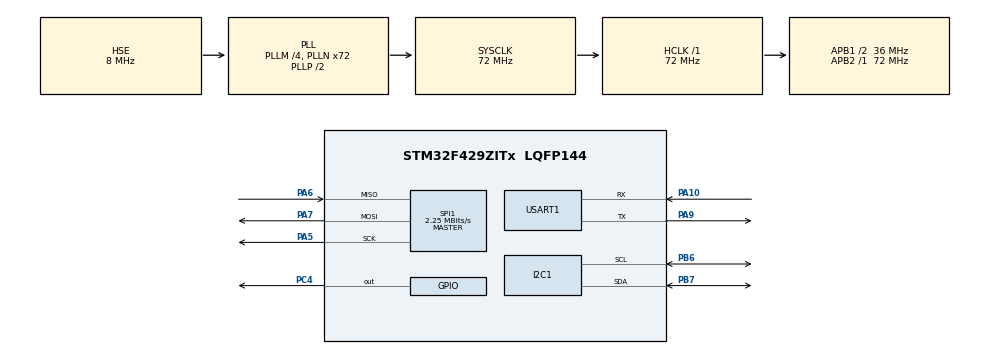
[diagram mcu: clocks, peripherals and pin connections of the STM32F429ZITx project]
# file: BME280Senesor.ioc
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FATFS._MAX_SS=4096
FATFS._USE_LFN=1
Mcu.Family=STM32F4
Mcu.Name=STM32F429ZITx
Mcu.Package=LQFP144
NVIC.PriorityGroup=NVIC_PRIORITYGROUP_4
PA10.Mode=Asynchronous
PA10.Signal=USART1_RX
PA13.Mode=Serial_Wire
PA13.Signal=SYS_JTMS-SWDIO
PA14.Mode=Serial_Wire
PA14.Signal=SYS_JTCK-SWCLK
PA5.Mode=Full_Duplex_Master
PA5.Signal=SPI1_SCK
PA6.Mode=Full_Duplex_Master
PA6.Signal=SPI1_MISO
PA7.Mode=Full_Duplex_Master
PA7.Signal=SPI1_MOSI
PA9.Mode=Asynchronous
PA9.Signal=USART1_TX
PB6.Mode=I2C
PB6.Signal=I2C1_SCL
PB7.Mode=I2C
PB7.Signal=I2C1_SDA
PC4.Signal=GPIO_Output
PH0/OSC_IN.Mode=HSE-External-Oscillator
PH0/OSC_IN.Signal=RCC_OSC_IN
PH1/OSC_OUT.Mode=HSE-External-Oscillator
PH1/OSC_OUT.Signal=RCC_OSC_OUT
ProjectManager.HeapSize=0x200
ProjectManager.StackSize=0x400
ProjectManager.TargetToolchain=STM32CubeIDE
RCC.48MHZClocksFreq_Value=48000000
RCC.AHBFreq_Value=72000000
RCC.APB1CLKDivider=RCC_HCLK_DIV2
RCC.APB1Freq_Value=36000000
RCC.APB1TimFreq_Value=72000000
RCC.APB2Freq_Value=72000000
RCC.APB2TimFreq_Value=72000000
RCC.CortexFreq_Value=72000000
RCC.HCLKFreq_Value=72000000
RCC.HSE_VALUE=8000000
RCC.HSI_VALUE=16000000
RCC.LSE_VALUE=32768
RCC.PLLM=4
RCC.PLLN=72
RCC.PLLQ=3
RCC.PLLSAIN=50
RCC.PLLSourceVirtual=RCC_PLLSOURCE_HSE
RCC.SYSCLKFreq_VALUE=72000000
RCC.SYSCLKSource=RCC_SYSCLKSOURCE_PLLCLK
RCC.VCOOutputFreq_Value=144000000
SPI1.BaudRatePrescaler=SPI_BAUDRATEPRESCALER_32
SPI1.CalculateBaudRate=2.25 MBits/s
SPI1.Direction=SPI_DIRECTION_2LINES
SPI1.Mode=SPI_MODE_MASTER
SPI1.VirtualType=VM_MASTER
USART1.VirtualMode=VM_ASYNC
VP_FATFS_VS_Generic.Mode=User_defined
VP_RTC_VS_RTC_Activate.Mode=RTC_Enabled
board=STM32F429I-DISC1

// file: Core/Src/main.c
/* USER CODE BEGIN Header */
/**
  ******************************************************************************
  * @file           : main.c
  * @brief          : Main program body
  ******************************************************************************
  * @attention
  *
  * Copyright (c) 2025 STMicroelectronics.
  * All rights reserved.
  *
  * This software is licensed under terms that can be found in the LICENSE file
  * in the root directory of this software component.
  * If no LICENSE file comes with this software, it is provided AS-IS.
  *
  ******************************************************************************
  */
/* USER CODE END Header */
#include "main.h"
#include "fatfs.h"

/* USER CODE BEGIN Includes */
#include "BME280_STM32.h"
#include "fatfs_sd.h"
#include "string.h"
#include "stdio.h"
#include "log_sensor_data.h"
/* USER CODE END Includes */

I2C_HandleTypeDef hi2c1;

RTC_HandleTypeDef hrtc;

SPI_HandleTypeDef hspi1;

UART_HandleTypeDef huart1;

/* USER CODE BEGIN PV */

/* USER CODE BEGIN PV */
// BME280 sensor variables

float Temperature, Pressure, Humidity;
char uart_buffer[100];

// Data logging variables
SensorData current_sensor_data;
char uart_display_buffer[256];
uint32_t measurement_counter = 0;
LogStatus log_status;

/* USER CODE END PV */

void SystemClock_Config(void);
static void MX_GPIO_Init(void);
static void MX_I2C1_Init(void);
static void MX_USART1_UART_Init(void);
static void MX_SPI1_Init(void);
static void MX_RTC_Init(void);

int main(void)
{

  /* MCU Configuration--------------------------------------------------------*/

  /* Reset of all peripherals, Initializes the Flash interface and the Systick. */
  HAL_Init();

  /* Configure the system clock */
  SystemClock_Config();

  /* Initialize all configured peripherals */
  MX_GPIO_Init();
  MX_I2C1_Init();
  MX_USART1_UART_Init();
  MX_SPI1_Init();
  MX_FATFS_Init();
  MX_RTC_Init();
  /* USER CODE BEGIN 2 */

  // Welcome message
    send_uart_message("\r\n=== BME280 SD Card Data Logger ===\r\n");
    send_uart_message("Initializing system...\r\n");

    // Initialize BME280 sensor
    BME280_Config(OSRS_2, OSRS_16, OSRS_1, MODE_NORMAL, T_SB_0p5, IIR_16);
    send_uart_message("BME280 sensor initialized\r\n");

    // Wait for system stabilization
    HAL_Delay(1000);

    // Initialize SD card logging system
    log_status = log_sensor_init();
    if (log_status != LOG_OK) {
      //handle_logging_error(log_status);
      send_uart_message("SD card logging failed to initialize!\r\n");
      send_uart_message("Continuing with UART output only...\r\n");
    }

    send_uart_message("System ready. Starting data logging...\r\n");
    send_uart_message("Data format: Temperature(C), Humidity(%), Pressure(hPa)\r\n\r\n");

  /* USER CODE END 2 */

  /* Infinite loop */
  while (1)
  {

    /* USER CODE BEGIN 3 */
	  // Read BME280 sensor data
	      BME280_Measure();

	      // Display readings on UART
	      //display_sensor_data();

	      // Prepare data structure for logging
	      current_sensor_data.temperature = Temperature;
	      current_sensor_data.humidity = Humidity;
	      current_sensor_data.pressure = Pressure;
	      current_sensor_data.timestamp = measurement_counter++;

	      // Log data to SD card (only if initialization was successful)
	      if (log_status == LOG_OK) {
	        LogStatus write_status = log_sensor_data(&current_sensor_data);

	      }

	      // Wait before next measurement
	      HAL_Delay(LOG_INTERVAL_MS);
  }
  /* USER CODE END 3 */
}

void SystemClock_Config(void)
{
  RCC_OscInitTypeDef RCC_OscInitStruct = {0};
  RCC_ClkInitTypeDef RCC_ClkInitStruct = {0};

  /** Configure the main internal regulator output voltage
  */
  __HAL_RCC_PWR_CLK_ENABLE();
  __HAL_PWR_VOLTAGESCALING_CONFIG(PWR_REGULATOR_VOLTAGE_SCALE3);

  /** Initializes the RCC Oscillators according to the specified parameters
  * in the RCC_OscInitTypeDef structure.
  */
  RCC_OscInitStruct.OscillatorType = RCC_OSCILLATORTYPE_LSI|RCC_OSCILLATORTYPE_HSE;
  RCC_OscInitStruct.HSEState = RCC_HSE_ON;
  RCC_OscInitStruct.LSIState = RCC_LSI_ON;
  RCC_OscInitStruct.PLL.PLLState = RCC_PLL_ON;
  RCC_OscInitStruct.PLL.PLLSource = RCC_PLLSOURCE_HSE;
  RCC_OscInitStruct.PLL.PLLM = 4;
  RCC_OscInitStruct.PLL.PLLN = 72;
  RCC_OscInitStruct.PLL.PLLP = RCC_PLLP_DIV2;
  RCC_OscInitStruct.PLL.PLLQ = 3;
  if (HAL_RCC_OscConfig(&RCC_OscInitStruct) != HAL_OK)
  {
    Error_Handler();
  }

  /** Initializes the CPU, AHB and APB buses clocks
  */
  RCC_ClkInitStruct.ClockType = RCC_CLOCKTYPE_HCLK|RCC_CLOCKTYPE_SYSCLK
                              |RCC_CLOCKTYPE_PCLK1|RCC_CLOCKTYPE_PCLK2;
  RCC_ClkInitStruct.SYSCLKSource = RCC_SYSCLKSOURCE_PLLCLK;
  RCC_ClkInitStruct.AHBCLKDivider = RCC_SYSCLK_DIV1;
  RCC_ClkInitStruct.APB1CLKDivider = RCC_HCLK_DIV2;
  RCC_ClkInitStruct.APB2CLKDivider = RCC_HCLK_DIV1;

  if (HAL_RCC_ClockConfig(&RCC_ClkInitStruct, FLASH_LATENCY_2) != HAL_OK)
  {
    Error_Handler();
  }
}

static void MX_I2C1_Init(void)
{

  hi2c1.Instance = I2C1;
  hi2c1.Init.ClockSpeed = 100000;
  hi2c1.Init.DutyCycle = I2C_DUTYCYCLE_2;
  hi2c1.Init.OwnAddress1 = 0;
  hi2c1.Init.AddressingMode = I2C_ADDRESSINGMODE_7BIT;
  hi2c1.Init.DualAddressMode = I2C_DUALADDRESS_DISABLE;
  hi2c1.Init.OwnAddress2 = 0;
  hi2c1.Init.GeneralCallMode = I2C_GENERALCALL_DISABLE;
  hi2c1.Init.NoStretchMode = I2C_NOSTRETCH_DISABLE;
  if (HAL_I2C_Init(&hi2c1) != HAL_OK)
  {
    Error_Handler();
  }

  /** Configure Analogue filter
  */
  if (HAL_I2CEx_ConfigAnalogFilter(&hi2c1, I2C_ANALOGFILTER_ENABLE) != HAL_OK)
  {
    Error_Handler();
  }

  /** Configure Digital filter
  */
  if (HAL_I2CEx_ConfigDigitalFilter(&hi2c1, 0) != HAL_OK)
  {
    Error_Handler();
  }

}

static void MX_RTC_Init(void)
{

  /** Initialize RTC Only
  */
  hrtc.Instance = RTC;
  hrtc.Init.HourFormat = RTC_HOURFORMAT_24;
  hrtc.Init.AsynchPrediv = 127;
  hrtc.Init.SynchPrediv = 255;
  hrtc.Init.OutPut = RTC_OUTPUT_DISABLE;
  hrtc.Init.OutPutPolarity = RTC_OUTPUT_POLARITY_HIGH;
  hrtc.Init.OutPutType = RTC_OUTPUT_TYPE_OPENDRAIN;
  if (HAL_RTC_Init(&hrtc) != HAL_OK)
  {
    Error_Handler();
  }

}

static void MX_SPI1_Init(void)
{

  /* SPI1 parameter configuration*/
  hspi1.Instance = SPI1;
  hspi1.Init.Mode = SPI_MODE_MASTER;
  hspi1.Init.Direction = SPI_DIRECTION_2LINES;
  hspi1.Init.DataSize = SPI_DATASIZE_8BIT;
  hspi1.Init.CLKPolarity = SPI_POLARITY_LOW;
  hspi1.Init.CLKPhase = SPI_PHASE_1EDGE;
  hspi1.Init.NSS = SPI_NSS_SOFT;
  hspi1.Init.BaudRatePrescaler = SPI_BAUDRATEPRESCALER_32;
  hspi1.Init.FirstBit = SPI_FIRSTBIT_MSB;
  hspi1.Init.TIMode = SPI_TIMODE_DISABLE;
  hspi1.Init.CRCCalculation = SPI_CRCCALCULATION_DISABLE;
  hspi1.Init.CRCPolynomial = 10;
  if (HAL_SPI_Init(&hspi1) != HAL_OK)
  {
    Error_Handler();
  }

}

static void MX_USART1_UART_Init(void)
{

  huart1.Instance = USART1;
  huart1.Init.BaudRate = 115200;
  huart1.Init.WordLength = UART_WORDLENGTH_8B;
  huart1.Init.StopBits = UART_STOPBITS_1;
  huart1.Init.Parity = UART_PARITY_NONE;
  huart1.Init.Mode = UART_MODE_TX_RX;
  huart1.Init.HwFlowCtl = UART_HWCONTROL_NONE;
  huart1.Init.OverSampling = UART_OVERSAMPLING_16;
  if (HAL_UART_Init(&huart1) != HAL_OK)
  {
    Error_Handler();
  }

}

static void MX_GPIO_Init(void)
{
  GPIO_InitTypeDef GPIO_InitStruct = {0};

  /* GPIO Ports Clock Enable */
  __HAL_RCC_GPIOH_CLK_ENABLE();
  __HAL_RCC_GPIOA_CLK_ENABLE();
  __HAL_RCC_GPIOC_CLK_ENABLE();
  __HAL_RCC_GPIOB_CLK_ENABLE();

  /*Configure GPIO pin Output Level */
  HAL_GPIO_WritePin(GPIOC, GPIO_PIN_4, GPIO_PIN_RESET);

  /*Configure GPIO pin : PC4 */
  GPIO_InitStruct.Pin = GPIO_PIN_4;
  GPIO_InitStruct.Mode = GPIO_MODE_OUTPUT_PP;
  GPIO_InitStruct.Pull = GPIO_NOPULL;
  GPIO_InitStruct.Speed = GPIO_SPEED_FREQ_LOW;
  HAL_GPIO_Init(GPIOC, &GPIO_InitStruct);

}

void Error_Handler(void)
{
  __disable_irq();
  while (1)
  {
  }
}
